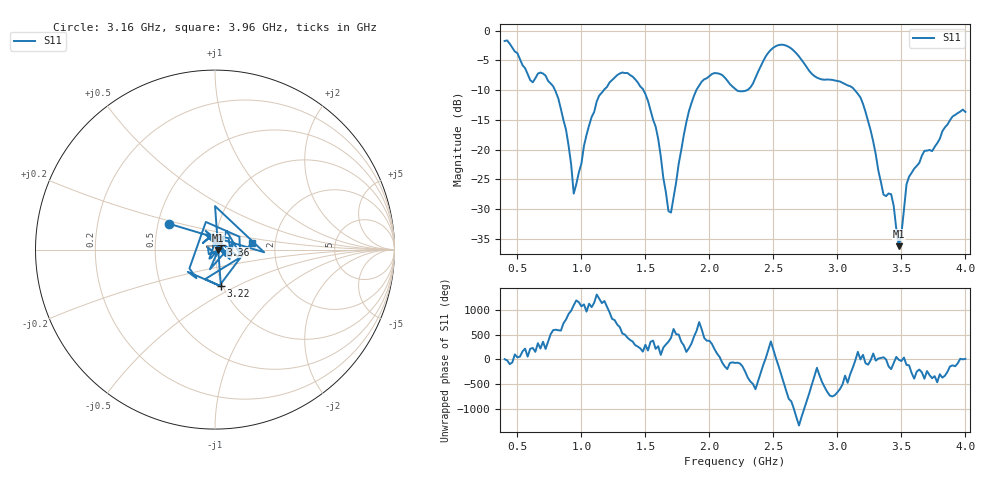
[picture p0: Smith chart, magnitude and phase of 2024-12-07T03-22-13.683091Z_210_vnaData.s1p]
!Created with skrf (http://scikit-rf.org).
# Hz S RI R 50.0
!freq ReS11 ImS11
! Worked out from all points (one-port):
!   181 points, 400 MHz to 4 GHz, reference 50 ohm
!   lowest |S11| = -36.2 dB at 3.48 GHz (marker M1), VSWR 1.03, Z = 51.5 - j0.307 ohm
!   |S11| at or under -10 dB: 793.4 MHz to 1.175 GHz (382 MHz wide, 38.8 % of centre); 1.484 GHz to 1.898 GHz (414 MHz wide, 24.5 % of centre); 3.135 GHz to end of sweep (the widest 3 of 4)
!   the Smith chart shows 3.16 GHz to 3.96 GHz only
!   S11 on the Smith chart (normalised r, x): 3.16 GHz: 0.57, +0.18; 3.22 GHz: 0.98, -0.42; 3.36 GHz: 1.06, +0.06; 3.96 GHz: 1.51, +0.12
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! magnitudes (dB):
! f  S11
! 400 MHz  -1.7
! 620 MHz  -8.7
! 720 MHz  -7.6
! 860 MHz  -15.1
! 940 MHz  -27.4
! 1.12 GHz  -11.9
! 1.3 GHz  -7.2
! 1.52 GHz  -11.8
! 1.6 GHz  -18.2
! 1.68 GHz  -30.3
! 1.7 GHz  -30.6
! 1.76 GHz  -22.4
! 1.84 GHz  -13.6
! 1.94 GHz  -8.6
! 2.2 GHz  -9.8
! 2.32 GHz  -9.6
! 2.5 GHz  -2.9
! 2.66 GHz  -3.4
! 2.84 GHz  -7.9
! 3.1 GHz  -9.4
! 3.16 GHz  -10.6
! 3.22 GHz  -13.7
! 3.36 GHz  -27.6
! 3.42 GHz  -27.5
! 3.48 GHz  -36.2
! 3.56 GHz  -24.5
! 3.96 GHz  -13.6
! 4 GHz  -13.7
